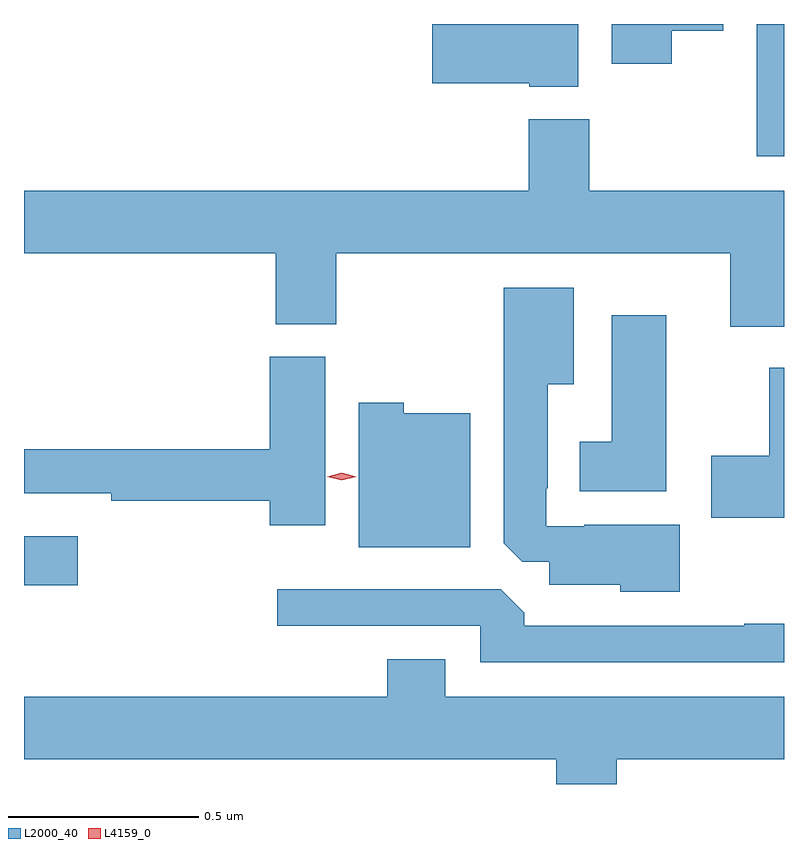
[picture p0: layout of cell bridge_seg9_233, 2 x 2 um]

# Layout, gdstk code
import gdstk
lib = gdstk.Library(unit=1e-6, precision=1e-09)
def R(c, l, rs):  # rectangles x0, y0, x1, y1
    for r in rs: c.add(gdstk.rectangle(r[:2], r[2:], *l))
def P(c, l, *ps):  # polygons
    for p in ps: c.add(gdstk.Polygon(p, *l))
L2000_40 = (2000, 40)
L4159_0 = (4159, 0)

bridge_seg9_233 = lib.new_cell('bridge_seg9_233')
R(bridge_seg9_233, L2000_40, [(221.535,1206.202,221.677,1206.331), (223.463,1207.331,223.535,1207.679)])
P(bridge_seg9_233, L2000_40, [(223.24,1207.661),(223.375,1207.661),(223.375,1207.679),(223.082,1207.679),(223.082,1207.575),(223.24,1207.575)],
  [(222.994,1207.679),(222.609,1207.679),(222.609,1207.523),(222.864,1207.523),(222.864,1207.514),(222.994,1207.514)],
  [(223.535,1207.24),(223.023,1207.24),(223.023,1207.429),(222.863,1207.429),(222.863,1207.24),(221.535,1207.24),(221.535,1207.076),(222.197,1207.076),(222.197,1206.889),(222.357,1206.889),(222.357,1207.076),(223.394,1207.076),(223.394,1206.882),(223.535,1206.882)],
  [(223.261,1206.361),(223.009,1206.361),(223.009,1206.357),(222.909,1206.357),(222.909,1206.457),(222.913,1206.457),(222.913,1206.731),(222.982,1206.731),(222.982,1206.985),(222.797,1206.985),(222.797,1206.313),(222.846,1206.264),(222.917,1206.264),(222.917,1206.203),(223.104,1206.203),(223.104,1206.185),(223.261,1206.185)],
  [(223.225,1206.913),(223.082,1206.913),(223.082,1206.58),(222.998,1206.58),(222.998,1206.449),(223.225,1206.449)],
  [(222.328,1206.804),(222.182,1206.804),(222.182,1206.56),(221.535,1206.56),(221.535,1206.444),(221.764,1206.444),(221.764,1206.424),(222.182,1206.424),(222.182,1206.36),(222.328,1206.36)],
  [(223.535,1206.775),(223.496,1206.775),(223.496,1206.543),(223.344,1206.543),(223.344,1206.38),(223.535,1206.38)],
  [(222.709,1206.655),(222.534,1206.655),(222.534,1206.682),(222.416,1206.682),(222.416,1206.302),(222.709,1206.302)],
  [(223.535,1206.101),(223.43,1206.101),(223.43,1206.096),(222.851,1206.096),(222.851,1206.13),(222.789,1206.192),(222.201,1206.192),(222.201,1206.096),(222.735,1206.096),(222.735,1206),(223.535,1206)],
  [(223.095,1205.744),(223.535,1205.744),(223.535,1205.908),(222.643,1205.908),(222.643,1206.007),(222.491,1206.007),(222.491,1205.908),(221.535,1205.908),(221.535,1205.744),(222.935,1205.744),(222.935,1205.679),(223.095,1205.679)])
P(bridge_seg9_233, L4159_0, [(222.371,1206.478),(222.333,1206.488),(222.333,1206.488),(222.333,1206.488),(222.371,1206.498),(222.409,1206.488),(222.409,1206.488),(222.409,1206.488)])

lib.write_gds('bridge_seg9_233.gds')
